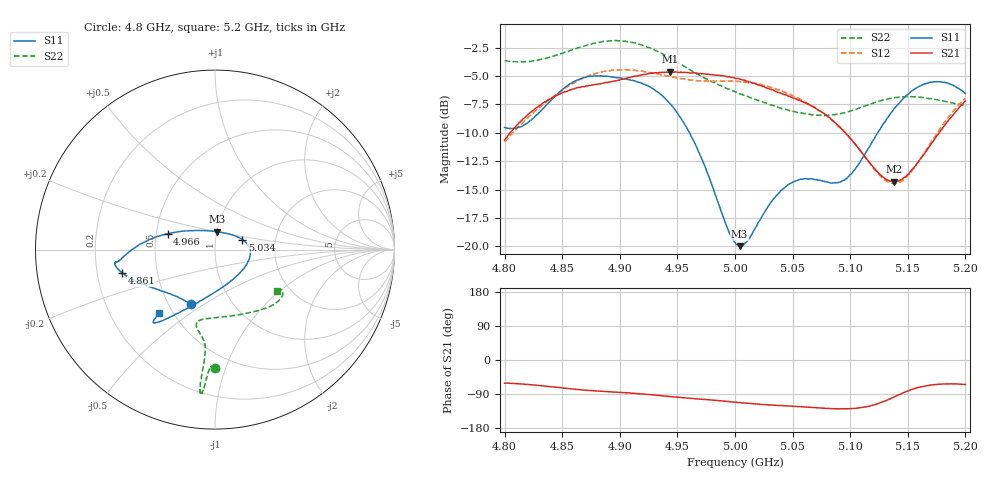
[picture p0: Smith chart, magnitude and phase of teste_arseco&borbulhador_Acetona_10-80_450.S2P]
! Network Analyzer HP8722D
! Hewlett-Packard
! Data name: Linha & Wilkinson
! Saver's name: Rodrigo Anjos
! Comments: Teste da utilização de aquisição
! continua pelo VNA HP8722D
! Time and date: 17/4/2025 18:06
!  Frequency  S11  S21  S12  S22
# HZ  S  MA R 50
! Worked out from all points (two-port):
!   401 points, 4.8 GHz to 5.2 GHz, reference 50 ohm
!   highest |S21| = -4.61 dB at 4.944 GHz (marker M1); lowest = -14.3 dB at 5.138 GHz (marker M2)
!   |S21| within 3 dB of the highest: 4.83 GHz to 5.066 GHz (235.8 MHz wide, 4.77 % of centre); 5.196041 GHz to end of sweep
!   lowest |S11| = -20.0 dB at 5.004 GHz (marker M3), VSWR 1.22, Z = 50 + j10.1 ohm
!   |S11| at or under -10 dB: 4.961 GHz to 5.124 GHz (163.3 MHz wide, 3.24 % of centre)
!   |S22| runs from -8.5 to -1.9 dB; largest |S21 - S12| = 0.88
!   S11 on the Smith chart (normalised r, x): 4.8 GHz: 0.64, -0.44; 4.861 GHz: 0.31, -0.11; 4.966 GHz: 0.58, +0.11; 5.034 GHz: 1.35, +0.16; 5.2 GHz: 0.42, -0.39
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4.8e9  0.3336 -113.7  0.2937 -61.1  0.288 -175.1  0.6584 -90.2
4.819e9  0.3477 -133.8  0.3752 -64.2  0.3635 -173.8  0.6521 -91.8
4.861e9  0.5347 -166.0  0.4963 -77.1  0.5282 -177.0  0.7409 -94.0
4.867e9  0.5497 -168.3  0.505 -79.0  0.5473 -178.1  0.7578 -94.3
4.9e9  0.5515 -172.9  0.5408 -85.4  0.5992 175.4  0.8047 -95.7
4.934e9  0.4737 -179.0  0.5829 -93.7  0.5745 171.6  0.7175 -96.1
4.944e9  0.4235 176.4  0.5878 -96.6  0.558 171.7  0.674 -96.0
4.966e9  0.278 161.4  0.58 -102.1  0.5378 173.6  0.5798 -95.4
4.993e9  0.1218 119.8  0.559 -109.3  0.5341 175.9  0.4959 -98.1
5e9  0.104 98.2  0.5515 -111.3  0.5346 176.0  0.479 -99.6
5.004e9  0.1 84.3  0.5454 -112.1  0.5318 175.9  0.4712 -100.5
5.012e9  0.1079 59.1  0.5295 -114.5  0.5266 175.6  0.4556 -102.2
5.034e9  0.163 20.2  0.4852 -119.4  0.4964 174.5  0.4159 -103.9
5.05e9  0.1915 4.0  0.4509 -122.1  0.4602 173.9  0.3933 -99.6
5.067e9  0.1983 -14.3  0.4133 -125.3  0.4163 173.5  0.3798 -90.6
5.085e9  0.1901 -42.7  0.3571 -128.6  0.3566 173.5  0.3805 -76.9
5.097e9  0.1988 -67.3  0.311 -128.7  0.3112 174.5  0.3904 -67.0
5.134e9  0.3782 -117.1  0.194 -103.4  0.1907 -156.1  0.4478 -43.0
5.138e9  0.403 -119.4  0.1924 -97.5  0.1889 -149.9  0.4507 -41.2
5.151e9  0.4717 -125.1  0.21 -80.7  0.2068 -130.1  0.4567 -36.5
5.17e9  0.5284 -129.5  0.2809 -66.0  0.2864 -112.2  0.4475 -32.2
5.2e9  0.4715 -131.2  0.4369 -64.7  0.4484 -106.7  0.4167 -33.7
